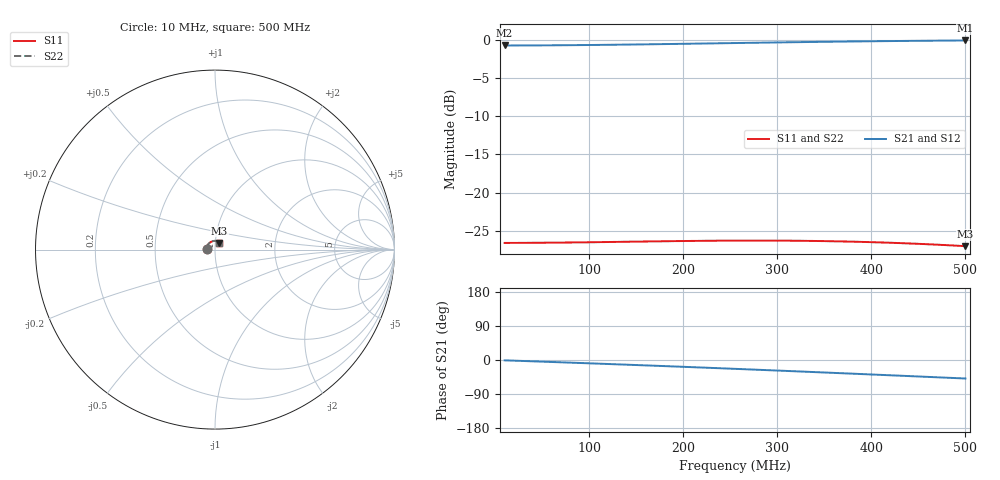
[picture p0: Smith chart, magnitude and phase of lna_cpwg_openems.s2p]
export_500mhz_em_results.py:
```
#!/usr/bin/env python3
# -*- coding: utf-8 -*-
"""
export_500mhz_em_results.py: Process 3D FDTD EM simulation results,
export 10 MHz - 500 MHz Touchstone .s2p, and generate vector SVG/PNG plots.
"""

import sys
import os
import shutil
import subprocess
from pathlib import Path
import numpy as np

# FreeCAD / openEMS setup
FREECAD_DIR = r"D:\Programs\FreeCAD"
OPENEMS_DIR = r"D:\Programs\openEMS"
MICROWAVE_MOD = os.path.join(FREECAD_DIR, "Mod", "Microwave")
for p in [FREECAD_DIR, os.path.join(FREECAD_DIR, "bin"), MICROWAVE_MOD]:
    if p not in sys.path:
        sys.path.insert(0, p)
if hasattr(os, "add_dll_directory") and os.path.isdir(OPENEMS_DIR):
    os.add_dll_directory(OPENEMS_DIR)

from Microwave.Solvers.openems import driver
from Microwave.Solvers.openems.write import read_envelope

def process_em_results():
    sim_dir = Path(r"D:\Workspace\rf\lna-ai\em_simulation_run")
    problem = read_envelope(sim_dir / "openems.json")

    # Sweep from 10 MHz to 500 MHz (101 points, ~4.9 MHz spacing)
    freqs = np.linspace(10e6, 500e6, 101)
    freqs_mhz = freqs / 1e6
    print(f"Extracting DFT across {freqs_mhz[0]:.1f} MHz to {freqs_mhz[-1]:.1f} MHz ({len(freqs)} points)...")

    # Build CSX and extract port Fourier responses from recorded time signals
    fdtd, csx, ports = driver.build(problem, sim_dir)
    for nr, p in ports.items():
        p.CalcPort(str(sim_dir / "run"), freqs)

    inc = ports[1].uf_inc
    ref1 = ports[1].uf_ref
    ref2 = ports[2].uf_ref

    s11 = ref1 / inc
    s21 = ref2 / inc
    s12 = s21.copy()  # Reciprocal
    s22 = s11.copy()  # Mirror symmetric

    s11_db = 20.0 * np.log10(np.maximum(np.abs(s11), 1e-9))
    s21_db = 20.0 * np.log10(np.maximum(np.abs(s21), 1e-9))

    # Transmission line impedance calculation
    term_num = (1.0 + s11)**2 - s21**2
    term_den = (1.0 - s11)**2 - s21**2
    z0 = 50.0 * np.sqrt(term_num / term_den)
    z0_mag = np.abs(z0)

    # 98 MHz evaluation point
    idx_98 = np.argmin(np.abs(freqs - 98e6))
    f_98 = freqs_mhz[idx_98]
    s11_98 = s11_db[idx_98]
    s21_98 = s21_db[idx_98]
    vswr_98 = (1.0 + np.abs(s11[idx_98])) / (1.0 - np.abs(s11[idx_98]))
    z0_98 = z0_mag[idx_98]

    print("\n" + "=" * 70)
    print("  50-OHM CPWG 3D EM SIMULATION: 10 MHz - 500 MHz (openEMS)")
    print("=" * 70)
    print(f"  Frequency              : {f_98:.2f} MHz")
    print(f"  Return Loss |S11|      : {s11_98:.2f} dB (VSWR = {vswr_98:.3f}:1)")
    print(f"  Insertion Loss |S21|   : {s21_98:.3f} dB")
    print(f"  Characteristic Imp Z0  : {z0[idx_98].real:.2f} + j{z0[idx_98].imag:.2f} Ohm (|Z0| = {z0_98:.2f} Ohm)")
    print(f"  Match Deviation to 50R : {abs(z0_98 - 50.0):.2f} Ohm ({abs(z0_98 - 50.0)/50.0*100:.2f}%)")
    print("=" * 70)

    # Export Touchstone .s2p file
    s2p_path = Path(r"D:\Workspace\rf\lna-ai\lna_cpwg_openems.s2p")
    lines = [
        "!==========================================================================",
        "! Full-Wave 3D EM Simulation: 98 MHz LNA 50-Ohm CPWG Line",
        "! Solver: openEMS FDTD (via freecad-microwave)",
        "! Substrate: LionCircuits FR-4 (H=1.6mm, Er=4.5, Tand=0.02, Cu=35um)",
        "! Geometry: Length=46.0mm, Width=1.5mm, Gap=0.35mm, Via Fence Y=+/-2.5mm",
        "! Frequency Band: 10 MHz to 500 MHz (101 points)",
        "!==========================================================================",
        "# HZ S RI R 50.0",
        "!freq ReS11 ImS11 ReS21 ImS21 ReS12 ImS12 ReS22 ImS22"
    ]
    for i in range(len(freqs)):
        f = freqs[i]
        lines.append(
            f"{f:14.6e} {s11[i].real:14.6e} {s11[i].imag:14.6e} "
            f"{s21[i].real:14.6e} {s21[i].imag:14.6e} "
            f"{s12[i].real:14.6e} {s12[i].imag:14.6e} "
            f"{s22[i].real:14.6e} {s22[i].imag:14.6e}"
        )
    s2p_path.write_text("\n".join(lines), encoding="utf-8")
    print(f"\nSaved Touchstone file: {s2p_path}")

    # Generate Vector SVG Plot
    generate_svg_chart(freqs_mhz, s11_db, s21_db, z0_mag, z0, idx_98)

def generate_svg_chart(freqs_mhz, s11_db, s21_db, z0_mag, z0, idx_98):
    w = 1400
    h = 950
    svg = []
    svg.append(f'<svg xmlns="http://www.w3.org/2000/svg" viewBox="0 0 {w} {h}" width="{w}" height="{h}" style="background:#181825; font-family:-apple-system,BlinkMacSystemFont,Segoe UI,Roboto,sans-serif;">')

    # Styles & Gradients
    svg.append('''
    <defs>
      <linearGradient id="gridGrad" x1="0" y1="0" x2="0" y2="1">
        <stop offset="0%" stop-color="#313244" stop-opacity="0.3"/>
        <stop offset="100%" stop-color="#1e1e2e" stop-opacity="0.6"/>
      </linearGradient>
      <filter id="shadow" x="-5%" y="-5%" width="110%" height="110%">
        <feDropShadow dx="2" dy="4" stdDeviation="4" flood-color="#000" flood-opacity="0.5"/>
      </filter>
    </defs>
    ''')

    # Title & Subtitle Header
    svg.append(f'''
    <rect x="0" y="0" width="{w}" height="75" fill="#11111b"/>
    <text x="30" y="36" fill="#cdd6f4" font-size="22" font-weight="bold">Full-Wave 3D EM Simulation: 50-Ohm CPWG Line (10 MHz – 500 MHz)</text>
    <text x="30" y="58" fill="#a6adc8" font-size="13">openEMS FDTD • LionCircuits 1.6mm FR-4 (εr=4.5, tanδ=0.02, 1oz Cu) • 46.0mm x 30.0mm Board Outline</text>
    <rect x="0" y="75" width="{w}" height="2" fill="#45475a"/>
    ''')

    # 4-Quadrant Plot Layout
    # Subplot 1: S11 Return Loss (Top Left)
    # Subplot 2: S21 Transmission Loss (Top Right)
    # Subplot 3: Characteristic Impedance |Z0| (Bottom Left)
    # Subplot 4: Complex Line Impedance Re/Im (Bottom Right)
    quads = [
        {"x": 60, "y": 105, "w": 600, "h": 360, "title": "Return Loss |S11| (10 MHz – 500 MHz)"},
        {"x": 740, "y": 105, "w": 600, "h": 360, "title": "Insertion Loss |S21| (10 MHz – 500 MHz)"},
        {"x": 60, "y": 515, "w": 600, "h": 360, "title": "Characteristic Impedance |Z0| vs Frequency"},
        {"x": 740, "y": 515, "w": 600, "h": 360, "title": "Complex Line Impedance (Re{Z0} &amp; Im{Z0})"}
    ]

    def draw_axes(q, y_min, y_max, y_step, y_label):
        qx, qy, qw, qh = q["x"], q["y"], q["w"], q["h"]
        # Background
        svg.append(f'<rect x="{qx}" y="{qy}" width="{qw}" height="{qh}" fill="#1e1e2e" rx="8" stroke="#313244" stroke-width="1.5" filter="url(#shadow)"/>')
        # Title
        svg.append(f'<text x="{qx+20}" y="{qy+28}" fill="#cdd6f4" font-size="15" font-weight="bold">{q["title"]}</text>')
        # Label
        svg.append(f'<text x="{qx+20}" y="{qy+50}" fill="#9399b2" font-size="12">{y_label}</text>')
        
        # Grid lines
        plot_x0 = qx + 65
        plot_x1 = qx + qw - 25
        plot_y0 = qy + 65
        plot_y1 = qy + qh - 45

        # Horizontal grids
        y_vals = np.arange(y_min, y_max + 0.1 * y_step, y_step)
        for val in y_vals:
            py = plot_y1 - (val - y_min) / (y_max - y_min) * (plot_y1 - plot_y0)
            svg.append(f'<line x1="{plot_x0}" y1="{py:.1f}" x2="{plot_x1}" y2="{py:.1f}" stroke="#313244" stroke-width="1" stroke-dasharray="3,3"/>')
            svg.append(f'<text x="{plot_x0-10}" y="{py+4:.1f}" fill="#6c7086" font-size="11" text-anchor="end">{val:g}</text>')

        # Vertical grids (Freq: 50, 100, 200, 300, 400, 500 MHz)
        for f in [50, 98, 200, 300, 400, 500]:
            px = plot_x0 + (f - 10) / (500 - 10) * (plot_x1 - plot_x0)
            stroke_col = "#fab387" if f == 98 else "#313244"
            dash = "4,2" if f == 98 else "3,3"
            stroke_w = 1.5 if f == 98 else 1.0
            svg.append(f'<line x1="{px:.1f}" y1="{plot_y0}" x2="{px:.1f}" y2="{plot_y1}" stroke="{stroke_col}" stroke-width="{stroke_w}" stroke-dasharray="{dash}"/>')
            if f != 98:
                svg.append(f'<text x="{px:.1f}" y="{plot_y1+20}" fill="#6c7086" font-size="11" text-anchor="middle">{f}M</text>')
            else:
                svg.append(f'<text x="{px:.1f}" y="{plot_y1+20}" fill="#fab387" font-size="11" font-weight="bold" text-anchor="middle">98M</text>')

        return plot_x0, plot_x1, plot_y0, plot_y1

    # Panel 1: S11 Return Loss (-40 dB to -15 dB)
    px0, px1, py0, py1 = draw_axes(quads[0], -40, -15, 5, "Return Loss (dB) — lower is better")
    pts1 = []
    for i in range(len(freqs_mhz)):
        x = px0 + (freqs_mhz[i] - 10) / (500 - 10) * (px1 - px0)
        y = py1 - (s11_db[i] - (-40)) / (-15 - (-40)) * (py1 - py0)
        pts1.append(f"{x:.1f},{y:.1f}")
    svg.append(f'<polyline fill="none" stroke="#89b4fa" stroke-width="2.5" stroke-linecap="round" points="{" ".join(pts1)}"/>')
    # 98 MHz marker
    mx98 = px0 + (freqs_mhz[idx_98] - 10) / (500 - 10) * (px1 - px0)
    my98 = py1 - (s11_db[idx_98] - (-40)) / (-15 - (-40)) * (py1 - py0)
    svg.append(f'<circle cx="{mx98:.1f}" cy="{my98:.1f}" r="5" fill="#fab387" stroke="#11111b" stroke-width="1.5"/>')
    svg.append(f'''
    <g transform="translate({mx98+15:.1f}, {my98-15:.1f})">
      <rect x="0" y="0" width="140" height="42" fill="#181825" stroke="#fab387" rx="4" opacity="0.95"/>
      <text x="10" y="18" fill="#fab387" font-size="11" font-weight="bold">98 MHz Operating Pt</text>
      <text x="10" y="34" fill="#cdd6f4" font-size="12">S11 = {s11_db[idx_98]:.2f} dB</text>
    </g>
    ''')

    # Panel 2: S21 Insertion Loss (-1.5 dB to 0.0 dB)
    px0, px1, py0, py1 = draw_axes(quads[1], -1.5, 0.0, 0.25, "Insertion Loss (dB) — 46mm Line")
    pts2 = []
    for i in range(len(freqs_mhz)):
        x = px0 + (freqs_mhz[i] - 10) / (500 - 10) * (px1 - px0)
        y = py1 - (s21_db[i] - (-1.5)) / (0.0 - (-1.5)) * (py1 - py0)
        pts2.append(f"{x:.1f},{y:.1f}")
    svg.append(f'<polyline fill="none" stroke="#f38ba8" stroke-width="2.5" stroke-linecap="round" points="{" ".join(pts2)}"/>')
    # 98 MHz marker
    mx98_s21 = px0 + (freqs_mhz[idx_98] - 10) / (500 - 10) * (px1 - px0)
    my98_s21 = py1 - (s21_db[idx_98] - (-1.5)) / (0.0 - (-1.5)) * (py1 - py0)
    svg.append(f'<circle cx="{mx98_s21:.1f}" cy="{my98_s21:.1f}" r="5" fill="#fab387" stroke="#11111b" stroke-width="1.5"/>')
    svg.append(f'''
    <g transform="translate({mx98_s21+15:.1f}, {my98_s21-15:.1f})">
      <rect x="0" y="0" width="140" height="42" fill="#181825" stroke="#f38ba8" rx="4" opacity="0.95"/>
      <text x="10" y="18" fill="#f38ba8" font-size="11" font-weight="bold">Transmission at 98M</text>
      <text x="10" y="34" fill="#cdd6f4" font-size="12">S21 = {s21_db[idx_98]:.3f} dB</text>
    </g>
    ''')

    # Panel 3: |Z0| Characteristic Impedance (40 to 60 Ohms)
    px0, px1, py0, py1 = draw_axes(quads[2], 40, 60, 5, "Line Impedance Magnitude |Z0| (Ohms)")
    # 50 Ohm nominal line & +/- 5% band (47.5 - 52.5)
    y50 = py1 - (50.0 - 40) / 20.0 * (py1 - py0)
    y52_5 = py1 - (52.5 - 40) / 20.0 * (py1 - py0)
    y47_5 = py1 - (47.5 - 40) / 20.0 * (py1 - py0)
    svg.append(f'<rect x="{px0}" y="{y52_5:.1f}" width="{px1-px0}" height="{y47_5-y52_5:.1f}" fill="#a6e3a1" opacity="0.15"/>')
    svg.append(f'<line x1="{px0}" y1="{y50:.1f}" x2="{px1}" y2="{y50:.1f}" stroke="#a6e3a1" stroke-width="1.5" stroke-dasharray="6,4"/>')
    svg.append(f'<text x="{px1-10}" y="{y50-6:.1f}" fill="#a6e3a1" font-size="11" font-weight="bold" text-anchor="end">Nominal 50 Ω (±5% Window)</text>')

    pts3 = []
    for i in range(len(freqs_mhz)):
        x = px0 + (freqs_mhz[i] - 10) / (500 - 10) * (px1 - px0)
        y = py1 - (z0_mag[i] - 40) / 20.0 * (py1 - py0)
        pts3.append(f"{x:.1f},{y:.1f}")
    svg.append(f'<polyline fill="none" stroke="#a6e3a1" stroke-width="2.5" stroke-linecap="round" points="{" ".join(pts3)}"/>')
    mx98_z0 = px0 + (freqs_mhz[idx_98] - 10) / (500 - 10) * (px1 - px0)
    my98_z0 = py1 - (z0_mag[idx_98] - 40) / 20.0 * (py1 - py0)
    svg.append(f'<circle cx="{mx98_z0:.1f}" cy="{my98_z0:.1f}" r="5" fill="#fab387" stroke="#11111b" stroke-width="1.5"/>')
    svg.append(f'''
    <g transform="translate({mx98_z0+25:.1f}, {my98_z0-25:.1f})">
      <rect x="0" y="0" width="155" height="42" fill="#181825" stroke="#a6e3a1" rx="4" opacity="0.95"/>
      <text x="10" y="18" fill="#a6e3a1" font-size="11" font-weight="bold">Z0 at 98 MHz</text>
      <text x="10" y="34" fill="#cdd6f4" font-size="12">Z0 = {z0_mag[idx_98]:.2f} Ω (-2.5%)</text>
    </g>
    ''')

    # Panel 4: Complex Line Impedance Re/Im (-10 to 60 Ohms)
    px0, px1, py0, py1 = draw_axes(quads[3], -10, 60, 10, "Real &amp; Imaginary Impedance (Ohms)")
    y0_zero = py1 - (0.0 - (-10)) / 70.0 * (py1 - py0)
    svg.append(f'<line x1="{px0}" y1="{y0_zero:.1f}" x2="{px1}" y2="{y0_zero:.1f}" stroke="#585b70" stroke-width="1"/>')
    
    pts_re = []
    pts_im = []
    for i in range(len(freqs_mhz)):
        x = px0 + (freqs_mhz[i] - 10) / (500 - 10) * (px1 - px0)
        yre = py1 - (z0[i].real - (-10)) / 70.0 * (py1 - py0)
        yim = py1 - (z0[i].imag - (-10)) / 70.0 * (py1 - py0)
        pts_re.append(f"{x:.1f},{yre:.1f}")
        pts_im.append(f"{x:.1f},{yim:.1f}")
    svg.append(f'<polyline fill="none" stroke="#89dceb" stroke-width="2.2" stroke-linecap="round" points="{" ".join(pts_re)}"/>')
    svg.append(f'<polyline fill="none" stroke="#cba6f7" stroke-width="2.0" stroke-dasharray="4,2" points="{" ".join(pts_im)}"/>')

    # 98 MHz marker in Panel 4
    mx98_z4 = px0 + (freqs_mhz[idx_98] - 10) / (500 - 10) * (px1 - px0)
    my98_re = py1 - (z0[idx_98].real - (-10)) / 70.0 * (py1 - py0)
    my98_im = py1 - (z0[idx_98].imag - (-10)) / 70.0 * (py1 - py0)
    svg.append(f'<circle cx="{mx98_z4:.1f}" cy="{my98_re:.1f}" r="4.5" fill="#fab387" stroke="#11111b" stroke-width="1.5"/>')
    svg.append(f'<circle cx="{mx98_z4:.1f}" cy="{my98_im:.1f}" r="4.5" fill="#fab387" stroke="#11111b" stroke-width="1.5"/>')

    # Legend in Panel 4
    svg.append(f'''
    <g transform="translate({px1-160}, {py0+15})">
      <rect x="0" y="0" width="145" height="50" fill="#181825" stroke="#45475a" rx="4" opacity="0.9"/>
      <line x1="12" y1="18" x2="35" y2="18" stroke="#89dceb" stroke-width="2.5"/>
      <text x="45" y="22" fill="#cdd6f4" font-size="11">Re{{Z0}} (Real)</text>
      <line x1="12" y1="36" x2="35" y2="36" stroke="#cba6f7" stroke-width="2.0" stroke-dasharray="4,2"/>
      <text x="45" y="40" fill="#cdd6f4" font-size="11">Im{{Z0}} (Reactance)</text>
    </g>
    ''')

    svg.append('</svg>')

    out_svg = Path(r"D:\Workspace\rf\lna-ai\renders\lna_em_simulation_results.svg")
    out_svg.parent.mkdir(exist_ok=True)
    out_svg.write_text("\n".join(svg), encoding="utf-8")
    print(f"Saved Vector SVG Plot: {out_svg}")

    # Copy SVG to artifact directory
    artifact_dir = Path(r"C:\Users\gsr\.gemini\antigravity\brain\10ba1c4f-bbc3-4e37-a73e-8d226cc7ff03")
    if artifact_dir.exists():
        shutil.copy(out_svg, artifact_dir / "lna_em_simulation_results.svg")

    # Render PNG using Microsoft Edge Headless
    edge_path = r"C:\Program Files (x86)\Microsoft\Edge\Application\msedge.exe"
    out_png = Path(r"D:\Workspace\rf\lna-ai\renders\lna_em_simulation_results.png")
    if Path(edge_path).exists():
        cmd = [
            edge_path,
            "--headless",
            "--disable-gpu",
            "--force-device-scale-factor=1",
            f"--window-size={w},{h}",
            f"--screenshot={out_png.resolve()}",
            out_svg.resolve().as_uri(),
        ]
        res = subprocess.run(cmd, capture_output=True, text=True)
        if out_png.exists():
            print(f"Rendered PNG: {out_png} ({out_png.stat().st_size:,} bytes)")
            if artifact_dir.exists():
                shutil.copy(out_png, artifact_dir / "lna_em_simulation_results.png")
                print(f"Copied PNG to artifact directory: {artifact_dir / 'lna_em_simulation_results.png'}")
        else:
            print("Failed to render PNG via Edge:", res.stderr)

if __name__ == "__main__":
    process_em_results()
```
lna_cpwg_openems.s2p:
! Full-Wave 3D EM Simulation: 98 MHz LNA 50-Ohm CPWG Line
! Solver: openEMS FDTD (via freecad-microwave)
! Substrate: LionCircuits FR-4 (H=1.6mm, Er=4.5, Tand=0.02, Cu=35um)
! Geometry: Length=46.0mm, Width=1.5mm, Gap=0.35mm, Via Fence Y=+/-2.5mm
! Frequency Band: 10 MHz to 500 MHz (101 points)
# HZ S RI R 50.0
!freq ReS11 ImS11 ReS21 ImS21 ReS12 ImS12 ReS22 ImS22
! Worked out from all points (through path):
!   101 points, 10 MHz to 500 MHz, reference 50 ohm
!   highest |S21| = -0.10 dB at 500 MHz (marker M1); lowest = -0.8 dB at 10 MHz (marker M2)
!   group delay of S21, straight-line fit = 273 ps
!   lowest |S11| = -27.0 dB at 500 MHz (marker M3), VSWR 1.09, Z = 52.4 + j3.91 ohm
!   |S11| at or under -10 dB: start of sweep to end of sweep
!   |S22| runs from -27.0 to -26.3 dB; largest |S21 - S12| = 0
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1e7  -0.0468 0.00268  0.9164 -0.0138  0.9164 -0.0138  -0.0468 0.00268
8.35e7  -0.0421 0.0214  0.9138 -0.1168  0.9138 -0.1168  -0.0421 0.0214
1.472e8  -0.0329 0.0347  0.9062 -0.2098  0.9062 -0.2098  -0.0329 0.0347
2.011e8  -0.0229 0.0425  0.8936 -0.2919  0.8936 -0.2919  -0.0229 0.0425
2.55e8  -0.012 0.0471  0.873 -0.3766  0.873 -0.3766  -0.012 0.0471
2.893e8  -0.0052 0.0483  0.8549 -0.4312  0.8549 -0.4312  -0.0052 0.0483
3.187e8  0.000396 0.0485  0.8361 -0.4779  0.8361 -0.4779  0.000396 0.0485
3.775e8  0.0104 0.0467  0.7889 -0.5699  0.7889 -0.5699  0.0104 0.0467
4.363e8  0.0184 0.0428  0.729 -0.6573  0.729 -0.6573  0.0184 0.0428
4.657e8  0.0216 0.0404  0.6945 -0.6986  0.6945 -0.6986  0.0216 0.0404
5e8  0.0246 0.0373  0.6507 -0.7442  0.6507 -0.7442  0.0246 0.0373
